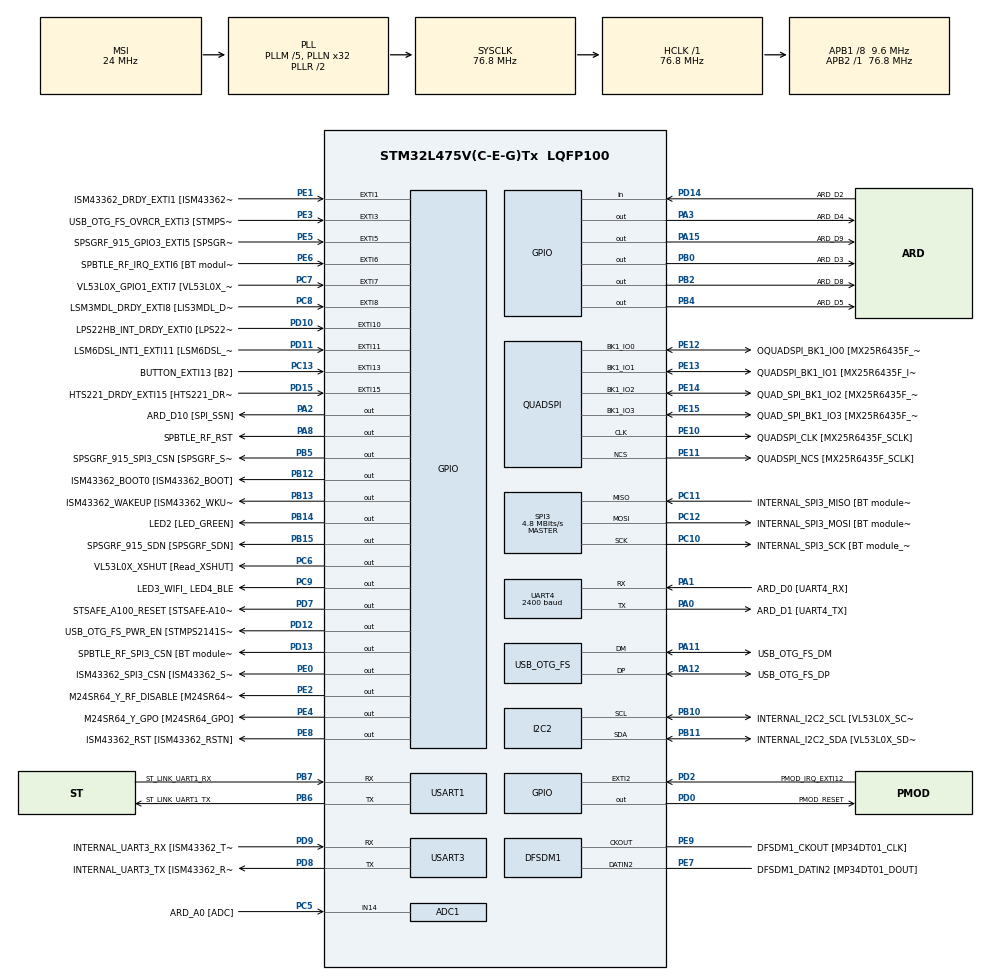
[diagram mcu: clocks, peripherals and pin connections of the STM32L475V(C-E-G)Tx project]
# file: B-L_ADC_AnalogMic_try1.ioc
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ADC1.Channel-1\#ChannelRegularConversion=ADC_CHANNEL_14
ADC1.Channel-2\#ChannelRegularConversion=ADC_CHANNEL_14
ADC1.ContinuousConvMode=DISABLE
ADC1.DMAContinuousRequests=ENABLE
ADC1.EnableAnalogWatchDog1=false
ADC1.NbrOfConversion=2
ADC1.NbrOfConversionFlag=1
ADC1.OffsetNumber-1\#ChannelRegularConversion=ADC_OFFSET_NONE
ADC1.OffsetNumber-2\#ChannelRegularConversion=ADC_OFFSET_NONE
ADC1.OversamplingMode=ENABLE
ADC1.Rank-1\#ChannelRegularConversion=1
ADC1.Rank-2\#ChannelRegularConversion=2
ADC1.Ratio=ADC_OVERSAMPLING_RATIO_64
ADC1.RightBitShift=ADC_RIGHTBITSHIFT_2
ADC1.SamplingTime-1\#ChannelRegularConversion=ADC_SAMPLETIME_12CYCLES_5
ADC1.SamplingTime-2\#ChannelRegularConversion=ADC_SAMPLETIME_2CYCLES_5
ADC1.master=1
Dma.ADC1.0.Direction=DMA_PERIPH_TO_MEMORY
Dma.ADC1.0.Instance=DMA1_Channel1
Dma.ADC1.0.MemDataAlignment=DMA_MDATAALIGN_HALFWORD
Dma.ADC1.0.MemInc=DMA_MINC_ENABLE
Dma.ADC1.0.Mode=DMA_CIRCULAR
Dma.ADC1.0.PeriphDataAlignment=DMA_PDATAALIGN_HALFWORD
Dma.ADC1.0.PeriphInc=DMA_PINC_DISABLE
Dma.ADC1.0.Priority=DMA_PRIORITY_LOW
Dma.Request0=ADC1
I2C2.Timing=0x00202336
Mcu.Family=STM32L4
Mcu.Name=STM32L475V(C-E-G)Tx
Mcu.Package=LQFP100
NVIC.DMA1_Channel1_IRQn=true\:0\:0\:false\:false\:true\:false\:true
NVIC.EXTI15_10_IRQn=true\:0\:0\:false\:false\:true\:true\:true
NVIC.EXTI9_5_IRQn=true\:0\:0\:false\:false\:true\:true\:true
NVIC.PriorityGroup=NVIC_PRIORITYGROUP_4
NVIC.TIM6_DAC_IRQn=true\:0\:0\:false\:false\:true\:true\:true
PA0.GPIO_Label=ARD_D1 [UART4_TX]
PA0.Mode=Asynchronous
PA0.Signal=UART4_TX
PA1.GPIO_Label=ARD_D0 [UART4_RX]
PA1.Mode=Asynchronous
PA1.Signal=UART4_RX
PA10.GPIO_Label=USB_OTG_FS_ID
PA10.Signal=USB_OTG_FS_ID
PA11.GPIO_Label=USB_OTG_FS_DM
PA11.Mode=Device_Only
PA11.Signal=USB_OTG_FS_DM
PA12.GPIO_Label=USB_OTG_FS_DP
PA12.Mode=Device_Only
PA12.Signal=USB_OTG_FS_DP
PA13\ (JTMS-SWDIO).GPIO_Label=SYS_JTMS_SWDIO
PA13\ (JTMS-SWDIO).Mode=Serial_Wire
PA13\ (JTMS-SWDIO).Signal=SYS_JTMS-SWDIO
PA14\ (JTCK-SWCLK).GPIO_Label=SYS_JTCK_SWCLK
PA14\ (JTCK-SWCLK).Mode=Serial_Wire
PA14\ (JTCK-SWCLK).Signal=SYS_JTCK-SWCLK
PA15\ (JTDI).GPIO_Label=ARD_D9
PA15\ (JTDI).Signal=GPIO_Output
PA2.GPIO_Label=ARD_D10 [SPI_SSN]
PA2.Signal=GPIO_Output
PA3.GPIO_Label=ARD_D4
PA3.Signal=GPIO_Output
PA4.GPIO_Label=ARD_D7
PA4.Signal=ADCx_IN9
PA5.GPIO_Label=ARD_D13 [SPI1_SCK]
PA5.Signal=SPI1_SCK
PA6.GPIO_Label=ARD_D12 [SPI1_MISO]
PA6.Signal=SPI1_MISO
PA7.GPIO_Label=ARD_D11 [SPI1_MOSI]
PA7.Signal=SPI1_MOSI
PA8.GPIO_Label=SPBTLE_RF_RST
PA8.Signal=GPIO_Output
PA9.GPIO_Label=USB_OTG_FS_VBUS [STMPS2141STR_OUT]
PA9.Signal=USB_OTG_FS_VBUS
PB0.GPIO_Label=ARD_D3
PB0.PinState=GPIO_PIN_SET
PB0.Signal=GPIO_Output
PB1.GPIO_Label=ARD_D6 [ADC1_IN6]
PB1.Signal=ADCx_IN16
PB10.GPIO_Label=INTERNAL_I2C2_SCL [VL53L0X_SCL]
PB10.Mode=I2C
PB10.Signal=I2C2_SCL
PB11.GPIO_Label=INTERNAL_I2C2_SDA [VL53L0X_SDA]
PB11.Mode=I2C
PB11.Signal=I2C2_SDA
PB12.GPIO_Label=ISM43362_BOOT0 [ISM43362_BOOT]
PB12.Signal=GPIO_Output
PB13.GPIO_Label=ISM43362_WAKEUP [ISM43362_WKUP]
PB13.Signal=GPIO_Output
PB14.GPIO_Label=LED2 [LED_GREEN]
PB14.Signal=GPIO_Output
PB15.GPIO_Label=SPSGRF_915_SDN [SPSGRF_SDN]
PB15.Signal=GPIO_Output
PB2.GPIO_Label=ARD_D8
PB2.Signal=GPIO_Output
PB3\ (JTDO-TRACESWO).GPIO_Label=SYS_JTD0_SWO
PB3\ (JTDO-TRACESWO).Signal=SYS_JTDO-SWO
PB4\ (NJTRST).GPIO_Label=ARD_D5
PB4\ (NJTRST).GPIO_ModeDefaultOutputPP=GPIO_MODE_OUTPUT_OD
PB4\ (NJTRST).Signal=GPIO_Output
PB5.GPIO_Label=SPSGRF_915_SPI3_CSN [SPSGRF_SPI_CS]
PB5.PinState=GPIO_PIN_SET
PB5.Signal=GPIO_Output
PB6.GPIO_Label=ST_LINK_UART1_TX
PB6.Mode=Asynchronous
PB6.Signal=USART1_TX
PB7.GPIO_Label=ST_LINK_UART1_RX
PB7.Mode=Asynchronous
PB7.Signal=USART1_RX
PB8.GPIO_Label=ARD_D15 [I2C1_SCL]
PB8.Signal=I2C1_SCL
PB9.GPIO_Label=ARD_D14 [I2C1_SDA]
PB9.Signal=I2C1_SDA
PC0.GPIO_Label=ARD_A5 [ADC]
PC0.Signal=ADCx_IN1
PC1.GPIO_Label=ARD_A4 [ADC]
PC1.Signal=ADCx_IN2
PC10.GPIO_Label=INTERNAL_SPI3_SCK [BT module_SPI_SCLK] [ISM43362_SCK]
PC10.Mode=Full_Duplex_Master
PC10.Signal=SPI3_SCK
PC11.GPIO_Label=INTERNAL_SPI3_MISO [BT module_SPI_MISO] [ISM43362_MISO]
PC11.Mode=Full_Duplex_Master
PC11.Signal=SPI3_MISO
PC12.GPIO_Label=INTERNAL_SPI3_MOSI [BT module_SPI_MOSI] [ISM43362_MOSI]
PC12.Mode=Full_Duplex_Master
PC12.Signal=SPI3_MOSI
PC13.GPIO_Label=BUTTON_EXTI13 [B2]
PC13.GPIO_ModeDefaultEXTI=GPIO_MODE_IT_FALLING
PC13.Signal=GPXTI13
PC14-OSC32_IN\ (PC14).Mode=LSE-External-Oscillator
PC14-OSC32_IN\ (PC14).Signal=RCC_OSC32_IN
PC15-OSC32_OUT\ (PC15).Mode=LSE-External-Oscillator
PC15-OSC32_OUT\ (PC15).Signal=RCC_OSC32_OUT
PC2.GPIO_Label=ARD_A3 [ADC]
PC2.Signal=ADCx_IN3
PC3.GPIO_Label=ARD_A2 [ADC]
PC3.Signal=ADCx_IN4
PC4.GPIO_Label=ARD_A1 [ADC]
PC4.Signal=ADCx_IN13
PC5.GPIO_Label=ARD_A0 [ADC]
PC5.Signal=ADCx_IN14
PC6.GPIO_Label=VL53L0X_XSHUT [Read_XSHUT]
PC6.Signal=GPIO_Output
PC7.GPIO_Label=VL53L0X_GPIO1_EXTI7 [VL53L0X_GPIO1]
PC7.Signal=GPXTI7
PC8.GPIO_Label=LSM3MDL_DRDY_EXTI8 [LIS3MDL_DRDY]
PC8.Signal=GPXTI8
PC9.GPIO_Label=LED3_WIFI_ LED4_BLE
PC9.Signal=GPIO_Output
PD0.GPIO_Label=PMOD_RESET
PD0.Signal=GPIO_Output
PD1.GPIO_Label=PMOD_SPI2_SCK
PD1.Signal=SPI2_SCK
PD10.GPIO_Label=LPS22HB_INT_DRDY_EXTI0 [LPS22HB_INT_DRDY] 
PD10.Signal=GPXTI10
PD11.GPIO_Label=LSM6DSL_INT1_EXTI11 [LSM6DSL_INT1]
PD11.Signal=GPXTI11
PD12.GPIO_Label=USB_OTG_FS_PWR_EN [STMPS2141STR_EN]
PD12.Signal=GPIO_Output
PD13.GPIO_Label=SPBTLE_RF_SPI3_CSN [BT module_SPI_CS]
PD13.PinState=GPIO_PIN_SET
PD13.Signal=GPIO_Output
PD14.GPIO_Label=ARD_D2
PD14.Signal=GPIO_Input
PD15.GPIO_Label=HTS221_DRDY_EXTI15 [HTS221_DRDY]
PD15.Signal=GPXTI15
PD2.GPIO_Label=PMOD_IRQ_EXTI12
PD2.Signal=GPXTI2
PD3.GPIO_Label=PMOD_UART2_CTS
PD3.Signal=USART2_CTS
PD4.GPIO_Label=PMOD_UART2_RTS
PD4.Signal=USART2_RTS
PD5.GPIO_Label=PMOD_UART2_TX
PD5.Signal=USART2_TX
PD6.GPIO_Label=PMOD_UART2_RX
PD6.Signal=USART2_RX
PD7.GPIO_Label=STSAFE_A100_RESET [STSAFE-A100_RESET]
PD7.Signal=GPIO_Output
PD8.GPIO_Label=INTERNAL_UART3_TX [ISM43362_RX]
PD8.Mode=Asynchronous
PD8.Signal=USART3_TX
PD9.GPIO_Label=INTERNAL_UART3_RX [ISM43362_TX]
PD9.Mode=Asynchronous
PD9.Signal=USART3_RX
PE0.GPIO_Label=ISM43362_SPI3_CSN [ISM43362_SSN]
PE0.PinState=GPIO_PIN_SET
PE0.Signal=GPIO_Output
PE1.GPIO_Label=ISM43362_DRDY_EXTI1 [ISM43362_DATARDY]
PE1.Signal=GPXTI1
PE10.GPIO_Label=QUADSPI_CLK [MX25R6435F_SCLK]
PE10.Mode=Single Bank
PE10.Signal=QUADSPI_CLK
PE11.GPIO_Label=QUADSPI_NCS [MX25R6435F_SCLK]
PE11.Mode=Single Bank
PE11.Signal=QUADSPI_NCS
PE12.GPIO_Label=OQUADSPI_BK1_IO0 [MX25R6435F_IO0]
PE12.Mode=Single Bank
PE12.Signal=QUADSPI_BK1_IO0
PE13.GPIO_Label=QUADSPI_BK1_IO1 [MX25R6435F_IO1]
PE13.Mode=Single Bank
PE13.Signal=QUADSPI_BK1_IO1
PE14.GPIO_Label=QUAD_SPI_BK1_IO2 [MX25R6435F_IO2]
PE14.Mode=Single Bank
PE14.Signal=QUADSPI_BK1_IO2
PE15.GPIO_Label=QUAD_SPI_BK1_IO3 [MX25R6435F_IO3]
PE15.Mode=Single Bank
PE15.Signal=QUADSPI_BK1_IO3
PE2.GPIO_Label=M24SR64_Y_RF_DISABLE [M24SR64_RFDIS]
PE2.Signal=GPIO_Output
PE3.GPIO_Label=USB_OTG_FS_OVRCR_EXTI3 [STMPS2141STR_FAULT]
PE3.Signal=GPXTI3
PE4.GPIO_Label=M24SR64_Y_GPO [M24SR64_GPO]
PE4.Signal=GPIO_Output
PE5.GPIO_Label=SPSGRF_915_GPIO3_EXTI5 [SPSGRF_GPIO_3]
PE5.Signal=GPXTI5
PE6.GPIO_Label=SPBTLE_RF_IRQ_EXTI6 [BT module_SPI_IRQ]
PE6.Signal=GPXTI6
PE7.GPIO_Label=DFSDM1_DATIN2 [MP34DT01_DOUT]
PE7.Signal=S_DATAIN2DFSDM1
PE8.GPIO_Label=ISM43362_RST [ISM43362_RSTN]
PE8.Signal=GPIO_Output
PE9.GPIO_Label=DFSDM1_CKOUT [MP34DT01_CLK]
PE9.Signal=S_CKOUTDFSDM1
ProjectManager.HeapSize=0x200
ProjectManager.StackSize=0x400
ProjectManager.TargetToolchain=TrueSTUDIO
RCC.ADCCLockSelection=RCC_ADCCLKSOURCE_SYSCLK
RCC.ADCFreq_Value=76800000
RCC.AHBFreq_Value=76800000
RCC.APB1CLKDivider=RCC_HCLK_DIV8
RCC.APB1Freq_Value=9600000
RCC.APB1TimFreq_Value=19200000
RCC.APB2Freq_Value=76800000
RCC.APB2TimFreq_Value=76800000
RCC.CortexFreq_Value=76800000
RCC.HCLKFreq_Value=76800000
RCC.HSE_VALUE=8000000
RCC.HSI_VALUE=16000000
RCC.MSIClockRange=RCC_MSIRANGE_9
RCC.MSI_VALUE=24000000
RCC.PLLM=5
RCC.PLLN=32
RCC.PLLQ=RCC_PLLQ_DIV4
RCC.PLLSAI1N=20
RCC.SYSCLKFreq_VALUE=76800000
RCC.SYSCLKSource=RCC_SYSCLKSOURCE_PLLCLK
RCC.USBFreq_Value=48000000
RCC.VCOOutputFreq_Value=153600000
SH.ADCx_IN1.0=ADC1_IN1
SH.ADCx_IN13.0=ADC1_IN13
SH.ADCx_IN14.0=ADC1_IN14,IN14-Single-Ended
SH.ADCx_IN16.0=ADC1_IN16
SH.ADCx_IN2.0=ADC1_IN2
SH.ADCx_IN3.0=ADC1_IN3
SH.ADCx_IN4.0=ADC1_IN4
SH.ADCx_IN9.0=ADC1_IN9
SH.S_CKOUTDFSDM1.0=DFSDM1_CKOUT,CKOUT
SH.S_CKOUTDFSDM1.1=DFSDM1_CKOUT,PDM_SPI_Input_from_ch12_and_Internal_Clock
SH.S_DATAIN2DFSDM1.0=DFSDM1_DATIN2,PDM_SPI_Input_from_ch12_and_Internal_Clock
SPI3.BaudRatePrescaler=SPI_BAUDRATEPRESCALER_2
SPI3.CalculateBaudRate=4.8 MBits/s
SPI3.DataSize=SPI_DATASIZE_16BIT
SPI3.Direction=SPI_DIRECTION_2LINES
SPI3.Mode=SPI_MODE_MASTER
SPI3.VirtualType=VM_MASTER
TIM6.AutoReloadPreload=TIM_AUTORELOAD_PRELOAD_ENABLE
TIM6.Period=100
TIM6.Prescaler=19200
UART4.BaudRate=2400
USART1.VirtualMode-Asynchronous=VM_ASYNC
USART3.VirtualMode-Asynchronous=VM_ASYNC
USB_OTG_FS.VirtualMode=Device_Only
VP_TIM6_VS_ClockSourceINT.Mode=Enable_Timer
board=B-L475E-IOT01A1

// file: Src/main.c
/* USER CODE BEGIN Header */
/**
  ******************************************************************************
  * @file           : main.c
  * @brief          : Main program body
  ******************************************************************************
  * @attention
  *
  * <h2><center>&copy; Copyright (c) 2020 STMicroelectronics.
  * All rights reserved.</center></h2>
  *
  * This software component is licensed by ST under BSD 3-Clause license,
  * the "License"; You may not use this file except in compliance with the
  * License. You may obtain a copy of the License at:
  *                        opensource.org/licenses/BSD-3-Clause
  *
  ******************************************************************************
  */
/* USER CODE END Header */

#include "main.h"

/* USER CODE BEGIN Includes */
#include <string.h>
/* USER CODE END Includes */

/* USER CODE BEGIN PD */
#define BUF_LEN 255
#define HALF_BUFF_LEN 127
/* USER CODE END PD */

ADC_HandleTypeDef hadc1;
DMA_HandleTypeDef hdma_adc1;

DFSDM_Channel_HandleTypeDef hdfsdm1_channel1;

I2C_HandleTypeDef hi2c2;

QSPI_HandleTypeDef hqspi;

SPI_HandleTypeDef hspi3;

TIM_HandleTypeDef htim6;

UART_HandleTypeDef huart4;
UART_HandleTypeDef huart1;
UART_HandleTypeDef huart3;

PCD_HandleTypeDef hpcd_USB_OTG_FS;

/* USER CODE BEGIN PV */
uint16_t MyMicValues[256];
uint32_t AudioSampleAccum1 = 0, AudioSampleAccum2 = 0;
uint16_t AudioAv1, AudioAv2, AudioAvTotal;
uint16_t GlobalTriggerLevel;
uint16_t DescisionFLAG = 0;
uint16_t TriggerFLAG = 0;
uint16_t ButtonFLAG = 0;
uint16_t NewAudioSampleFLAG = 0;

uint32_t DescisionLoopCNT= 0;
uint32_t DescisionAccum = 0;
/* USER CODE END PV */

void SystemClock_Config(void);
static void MX_GPIO_Init(void);
static void MX_DMA_Init(void);
static void MX_ADC1_Init(void);
static void MX_DFSDM1_Init(void);
static void MX_I2C2_Init(void);
static void MX_QUADSPI_Init(void);
static void MX_SPI3_Init(void);
static void MX_USART1_UART_Init(void);
static void MX_USART3_UART_Init(void);
static void MX_USB_OTG_FS_PCD_Init(void);
static void MX_TIM6_Init(void);
static void MX_UART4_Init(void);

int main(void)
{
  /* USER CODE BEGIN 1 */

	uint16_t TriggerLoopCount = 0;
	uint32_t TriggerAccum;
	uint16_t TriggerTotal;
	uint16_t TriggerLevel;

	char *msg = "say=Please listen for important message;";
	uint16_t len = strlen(msg);
	//char *backmsg[128];

  /* USER CODE END 1 */

  /* MCU Configuration--------------------------------------------------------*/

  /* Reset of all peripherals, Initializes the Flash interface and the Systick. */
  HAL_Init();

  /* Configure the system clock */
  SystemClock_Config();

  /* Initialize all configured peripherals */
  MX_GPIO_Init();
  MX_DMA_Init();
  MX_ADC1_Init();
  MX_DFSDM1_Init();
  MX_I2C2_Init();
  MX_QUADSPI_Init();
  MX_SPI3_Init();
  MX_USART1_UART_Init();
  MX_USART3_UART_Init();
  MX_USB_OTG_FS_PCD_Init();
  MX_TIM6_Init();
  MX_UART4_Init();
  /* USER CODE BEGIN 2 */

 // for (uint16_t x = 0; x < BUF_LEN; x++)
  //{
//	  MyMicValues[x] = 0;
 // }

  HAL_GPIO_WritePin(ARD_D3_GPIO_Port, ARD_D3_Pin, SET);
  HAL_GPIO_WritePin(ARD_D4_GPIO_Port, ARD_D4_Pin, RESET);
  HAL_GPIO_WritePin(ARD_D5_GPIO_Port, ARD_D5_Pin, RESET);

  //HAL_TIM_Base_Start_IT(&htim6);

  HAL_ADCEx_Calibration_Start(&hadc1, ADC_SINGLE_ENDED);
  HAL_ADC_Start_DMA(&hadc1, (uint32_t*)MyMicValues, BUF_LEN);

  //HAL_ADC_Start(&hadc1);

  while (TriggerLoopCount <= 1024)
  {
	  //if (NewAudioSampleFLAG)
	  //{
		  TriggerAccum = TriggerAccum + AudioAvTotal;
		  HAL_Delay(15);
		  TriggerLoopCount++;
		  HAL_GPIO_TogglePin(LED2_GPIO_Port, LED2_Pin);
	  //}
	  //NewAudioSampleFLAG = 0;
  }

  //__HAL_TIM_SET_AUTORELOAD(&htim6,2000);

  TriggerTotal = TriggerAccum >> 10;
  TriggerLevel = TriggerTotal + 540;
  GlobalTriggerLevel = TriggerLevel;
  HAL_TIM_Base_Stop_IT(&htim6);
  TriggerAccum = 0;
  /* USER CODE END 2 */

  /* Infinite loop */
  /* USER CODE BEGIN WHILE */
  while (1)
  {
	  if (AudioAvTotal > TriggerLevel)
	  {
		  //HAL_GPIO_TogglePin(LED2_GPIO_Port, LED2_Pin);
		  HAL_TIM_Base_Start_IT(&htim6);
		  while(!DescisionFLAG);
		  //{
			//  if (NewAudioSampleFLAG)
			  //{
				//  DescisionAccum = DescisionAccum + AudioAvTotal;
				  //DescisionLoopCNT++;
			  //}
			  //NewAudioSampleFLAG = 0;
		  //}
		  HAL_TIM_Base_Stop_IT(&htim6);
		  if (TriggerFLAG)
		  {
			  //HAL_TIM_Base_Stop_IT(&htim6);
			  HAL_GPIO_WritePin(ARD_D8_GPIO_Port, ARD_D8_Pin, SET); //red LED
			  HAL_GPIO_WritePin(ARD_D5_GPIO_Port, ARD_D5_Pin, SET); //pause audio source
			  HAL_Delay(400);
			  HAL_GPIO_WritePin(ARD_D5_GPIO_Port, ARD_D5_Pin, RESET);

			  HAL_GPIO_WritePin(ARD_D3_GPIO_Port, ARD_D3_Pin, RESET);
			  HAL_GPIO_WritePin(ARD_D4_GPIO_Port, ARD_D4_Pin, SET);   //switch over audio

			  for(uint16_t messageLoop =0; messageLoop < len; messageLoop++)
			  {
				  HAL_UART_Transmit(&huart4,(uint8_t *)&msg[messageLoop], 1, 0);
				  //HAL_UART_Receive(&huart4,(uint8_t *)&backmsg,2,0);
				  HAL_Delay(5); //should find TX ready flag
			  }
			  //HAL_UART_Receive(&huart4,(uint8_t *)&backmsg,2,0);
			  while(!ButtonFLAG);
			  ButtonFLAG = 0;
			  HAL_GPIO_WritePin(ARD_D3_GPIO_Port, ARD_D3_Pin, SET);
			  HAL_GPIO_WritePin(ARD_D4_GPIO_Port, ARD_D4_Pin, RESET);   //switch over audio

			  HAL_GPIO_WritePin(ARD_D5_GPIO_Port, ARD_D5_Pin, SET); //un-pause audio source
			  HAL_Delay(400);
			  HAL_GPIO_WritePin(ARD_D5_GPIO_Port, ARD_D5_Pin, RESET);

			  HAL_GPIO_WritePin(ARD_D8_GPIO_Port, ARD_D8_Pin, RESET);//RED LED
			  TriggerFLAG = 0;
			  DescisionFLAG = 0;
		  }
		  else
		  {
			 // HAL_TIM_Base_Stop_IT(&htim6);
			  HAL_GPIO_WritePin(ARD_D8_GPIO_Port, ARD_D8_Pin, RESET);
			  //TriggerFLAG = 0;
			  DescisionFLAG = 0;
		  }
	  }

	  /* USER CODE END WHILE */
  }
}
/*USER CODE BEGIN 4*/
void HAL_ADC_ConvHalfCpltCallback(ADC_HandleTypeDef *hadc)
{
	for(uint16_t AvCount = 0; AvCount <= HALF_BUFF_LEN; AvCount++)
	{
		AudioSampleAccum1 = AudioSampleAccum1 + MyMicValues[AvCount];
	}
	AudioAv1 = AudioSampleAccum1 >> 7;
	AudioSampleAccum1 = AudioAv1; //running audio average
}

void HAL_ADC_ConvCpltCallback(ADC_HandleTypeDef *hadc)
{
	for(uint16_t AvCount = HALF_BUFF_LEN; AvCount <= BUF_LEN; AvCount++)
	{
		AudioSampleAccum2 = AudioSampleAccum2 + MyMicValues[AvCount];
	}
	AudioAv2 = AudioSampleAccum2 >> 7;
	AudioAvTotal = (AudioAv1 + AudioAv2) >> 1;
	AudioSampleAccum2 = AudioAv2; //running audio average
	NewAudioSampleFLAG = 1;

}

void HAL_TIM_PeriodElapsedCallback(TIM_HandleTypeDef *htim)
{
	HAL_GPIO_TogglePin(LED2_GPIO_Port, LED2_Pin);
	//uint32_t temp;
	DescisionFLAG = 1;
	//temp = (DescisionAccum / DescisionLoopCNT);
	if (AudioAvTotal > GlobalTriggerLevel)
	{
		TriggerFLAG = 1;
	}
	DescisionAccum = 0;
	DescisionLoopCNT = 0;
}

void HAL_GPIO_EXTI_Callback(uint16_t GPIO_Pin)
{
	UNUSED(GPIO_Pin);
	ButtonFLAG = 1;
}
/*USER CODE END 4*/

void SystemClock_Config(void)
{
  RCC_OscInitTypeDef RCC_OscInitStruct = {0};
  RCC_ClkInitTypeDef RCC_ClkInitStruct = {0};
  RCC_PeriphCLKInitTypeDef PeriphClkInit = {0};

  /** Configure LSE Drive Capability
  */
  HAL_PWR_EnableBkUpAccess();
  __HAL_RCC_LSEDRIVE_CONFIG(RCC_LSEDRIVE_LOW);
  /** Initializes the CPU, AHB and APB busses clocks
  */
  RCC_OscInitStruct.OscillatorType = RCC_OSCILLATORTYPE_LSE|RCC_OSCILLATORTYPE_MSI;
  RCC_OscInitStruct.LSEState = RCC_LSE_ON;
  RCC_OscInitStruct.MSIState = RCC_MSI_ON;
  RCC_OscInitStruct.MSICalibrationValue = 0;
  RCC_OscInitStruct.MSIClockRange = RCC_MSIRANGE_9;
  RCC_OscInitStruct.PLL.PLLState = RCC_PLL_ON;
  RCC_OscInitStruct.PLL.PLLSource = RCC_PLLSOURCE_MSI;
  RCC_OscInitStruct.PLL.PLLM = 5;
  RCC_OscInitStruct.PLL.PLLN = 32;
  RCC_OscInitStruct.PLL.PLLP = RCC_PLLP_DIV7;
  RCC_OscInitStruct.PLL.PLLQ = RCC_PLLQ_DIV4;
  RCC_OscInitStruct.PLL.PLLR = RCC_PLLR_DIV2;
  if (HAL_RCC_OscConfig(&RCC_OscInitStruct) != HAL_OK)
  {
    Error_Handler();
  }
  /** Initializes the CPU, AHB and APB busses clocks
  */
  RCC_ClkInitStruct.ClockType = RCC_CLOCKTYPE_HCLK|RCC_CLOCKTYPE_SYSCLK
                              |RCC_CLOCKTYPE_PCLK1|RCC_CLOCKTYPE_PCLK2;
  RCC_ClkInitStruct.SYSCLKSource = RCC_SYSCLKSOURCE_PLLCLK;
  RCC_ClkInitStruct.AHBCLKDivider = RCC_SYSCLK_DIV1;
  RCC_ClkInitStruct.APB1CLKDivider = RCC_HCLK_DIV8;
  RCC_ClkInitStruct.APB2CLKDivider = RCC_HCLK_DIV1;

  if (HAL_RCC_ClockConfig(&RCC_ClkInitStruct, FLASH_LATENCY_4) != HAL_OK)
  {
    Error_Handler();
  }
  PeriphClkInit.PeriphClockSelection = RCC_PERIPHCLK_USART1|RCC_PERIPHCLK_USART3
                              |RCC_PERIPHCLK_UART4|RCC_PERIPHCLK_I2C2
                              |RCC_PERIPHCLK_DFSDM1|RCC_PERIPHCLK_USB
                              |RCC_PERIPHCLK_ADC;
  PeriphClkInit.Usart1ClockSelection = RCC_USART1CLKSOURCE_PCLK2;
  PeriphClkInit.Usart3ClockSelection = RCC_USART3CLKSOURCE_PCLK1;
  PeriphClkInit.Uart4ClockSelection = RCC_UART4CLKSOURCE_PCLK1;
  PeriphClkInit.I2c2ClockSelection = RCC_I2C2CLKSOURCE_PCLK1;
  PeriphClkInit.AdcClockSelection = RCC_ADCCLKSOURCE_SYSCLK;
  PeriphClkInit.Dfsdm1ClockSelection = RCC_DFSDM1CLKSOURCE_PCLK;
  PeriphClkInit.UsbClockSelection = RCC_USBCLKSOURCE_PLLSAI1;
  PeriphClkInit.PLLSAI1.PLLSAI1Source = RCC_PLLSOURCE_MSI;
  PeriphClkInit.PLLSAI1.PLLSAI1M = 5;
  PeriphClkInit.PLLSAI1.PLLSAI1N = 20;
  PeriphClkInit.PLLSAI1.PLLSAI1P = RCC_PLLP_DIV7;
  PeriphClkInit.PLLSAI1.PLLSAI1Q = RCC_PLLQ_DIV2;
  PeriphClkInit.PLLSAI1.PLLSAI1R = RCC_PLLR_DIV2;
  PeriphClkInit.PLLSAI1.PLLSAI1ClockOut = RCC_PLLSAI1_48M2CLK;
  if (HAL_RCCEx_PeriphCLKConfig(&PeriphClkInit) != HAL_OK)
  {
    Error_Handler();
  }
  /** Configure the main internal regulator output voltage
  */
  if (HAL_PWREx_ControlVoltageScaling(PWR_REGULATOR_VOLTAGE_SCALE1) != HAL_OK)
  {
    Error_Handler();
  }
  /** Enable MSI Auto calibration
  */
  HAL_RCCEx_EnableMSIPLLMode();
}

static void MX_ADC1_Init(void)
{

  ADC_MultiModeTypeDef multimode = {0};
  ADC_ChannelConfTypeDef sConfig = {0};

  /** Common config
  */
  hadc1.Instance = ADC1;
  hadc1.Init.ClockPrescaler = ADC_CLOCK_ASYNC_DIV1;
  hadc1.Init.Resolution = ADC_RESOLUTION_12B;
  hadc1.Init.DataAlign = ADC_DATAALIGN_RIGHT;
  hadc1.Init.ScanConvMode = ADC_SCAN_ENABLE;
  hadc1.Init.EOCSelection = ADC_EOC_SINGLE_CONV;
  hadc1.Init.LowPowerAutoWait = DISABLE;
  hadc1.Init.ContinuousConvMode = ENABLE;
  hadc1.Init.NbrOfConversion = 2;
  hadc1.Init.DiscontinuousConvMode = DISABLE;
  hadc1.Init.NbrOfDiscConversion = 1;
  hadc1.Init.ExternalTrigConv = ADC_SOFTWARE_START;
  hadc1.Init.ExternalTrigConvEdge = ADC_EXTERNALTRIGCONVEDGE_NONE;
  hadc1.Init.DMAContinuousRequests = ENABLE;
  hadc1.Init.Overrun = ADC_OVR_DATA_PRESERVED;
  hadc1.Init.OversamplingMode = ENABLE;
  hadc1.Init.Oversampling.Ratio = ADC_OVERSAMPLING_RATIO_64;
  hadc1.Init.Oversampling.RightBitShift = ADC_RIGHTBITSHIFT_2;
  hadc1.Init.Oversampling.TriggeredMode = ADC_TRIGGEREDMODE_SINGLE_TRIGGER;
  hadc1.Init.Oversampling.OversamplingStopReset = ADC_REGOVERSAMPLING_CONTINUED_MODE;
  if (HAL_ADC_Init(&hadc1) != HAL_OK)
  {
    Error_Handler();
  }
  /** Configure the ADC multi-mode
  */
  multimode.Mode = ADC_MODE_INDEPENDENT;
  if (HAL_ADCEx_MultiModeConfigChannel(&hadc1, &multimode) != HAL_OK)
  {
    Error_Handler();
  }
  /** Configure Regular Channel
  */
  sConfig.Channel = ADC_CHANNEL_14;
  sConfig.Rank = ADC_REGULAR_RANK_1;
  sConfig.SamplingTime = ADC_SAMPLETIME_12CYCLES_5;
  sConfig.SingleDiff = ADC_SINGLE_ENDED;
  sConfig.OffsetNumber = ADC_OFFSET_NONE;
  sConfig.Offset = 0;
  if (HAL_ADC_ConfigChannel(&hadc1, &sConfig) != HAL_OK)
  {
    Error_Handler();
  }
  /** Configure Regular Channel
  */
  sConfig.Rank = ADC_REGULAR_RANK_2;
  sConfig.SamplingTime = ADC_SAMPLETIME_2CYCLES_5;
  if (HAL_ADC_ConfigChannel(&hadc1, &sConfig) != HAL_OK)
  {
    Error_Handler();
  }

}

static void MX_DFSDM1_Init(void)
{

  hdfsdm1_channel1.Instance = DFSDM1_Channel1;
  hdfsdm1_channel1.Init.OutputClock.Activation = ENABLE;
  hdfsdm1_channel1.Init.OutputClock.Selection = DFSDM_CHANNEL_OUTPUT_CLOCK_SYSTEM;
  hdfsdm1_channel1.Init.OutputClock.Divider = 2;
  hdfsdm1_channel1.Init.Input.Multiplexer = DFSDM_CHANNEL_EXTERNAL_INPUTS;
  hdfsdm1_channel1.Init.Input.DataPacking = DFSDM_CHANNEL_STANDARD_MODE;
  hdfsdm1_channel1.Init.Input.Pins = DFSDM_CHANNEL_FOLLOWING_CHANNEL_PINS;
  hdfsdm1_channel1.Init.SerialInterface.Type = DFSDM_CHANNEL_SPI_RISING;
  hdfsdm1_channel1.Init.SerialInterface.SpiClock = DFSDM_CHANNEL_SPI_CLOCK_INTERNAL;
  hdfsdm1_channel1.Init.Awd.FilterOrder = DFSDM_CHANNEL_FASTSINC_ORDER;
  hdfsdm1_channel1.Init.Awd.Oversampling = 1;
  hdfsdm1_channel1.Init.Offset = 0;
  hdfsdm1_channel1.Init.RightBitShift = 0x00;
  if (HAL_DFSDM_ChannelInit(&hdfsdm1_channel1) != HAL_OK)
  {
    Error_Handler();
  }

}

static void MX_I2C2_Init(void)
{

  hi2c2.Instance = I2C2;
  hi2c2.Init.Timing = 0x00202336;
  hi2c2.Init.OwnAddress1 = 0;
  hi2c2.Init.AddressingMode = I2C_ADDRESSINGMODE_7BIT;
  hi2c2.Init.DualAddressMode = I2C_DUALADDRESS_DISABLE;
  hi2c2.Init.OwnAddress2 = 0;
  hi2c2.Init.OwnAddress2Masks = I2C_OA2_NOMASK;
  hi2c2.Init.GeneralCallMode = I2C_GENERALCALL_DISABLE;
  hi2c2.Init.NoStretchMode = I2C_NOSTRETCH_DISABLE;
  if (HAL_I2C_Init(&hi2c2) != HAL_OK)
  {
    Error_Handler();
  }
  /** Configure Analogue filter
  */
  if (HAL_I2CEx_ConfigAnalogFilter(&hi2c2, I2C_ANALOGFILTER_ENABLE) != HAL_OK)
  {
    Error_Handler();
  }
  /** Configure Digital filter
  */
  if (HAL_I2CEx_ConfigDigitalFilter(&hi2c2, 0) != HAL_OK)
  {
    Error_Handler();
  }

}

static void MX_QUADSPI_Init(void)
{

  /* QUADSPI parameter configuration*/
  hqspi.Instance = QUADSPI;
  hqspi.Init.ClockPrescaler = 255;
  hqspi.Init.FifoThreshold = 1;
  hqspi.Init.SampleShifting = QSPI_SAMPLE_SHIFTING_NONE;
  hqspi.Init.FlashSize = 1;
  hqspi.Init.ChipSelectHighTime = QSPI_CS_HIGH_TIME_1_CYCLE;
  hqspi.Init.ClockMode = QSPI_CLOCK_MODE_0;
  if (HAL_QSPI_Init(&hqspi) != HAL_OK)
  {
    Error_Handler();
  }

}

static void MX_SPI3_Init(void)
{

  /* SPI3 parameter configuration*/
  hspi3.Instance = SPI3;
  hspi3.Init.Mode = SPI_MODE_MASTER;
  hspi3.Init.Direction = SPI_DIRECTION_2LINES;
  hspi3.Init.DataSize = SPI_DATASIZE_16BIT;
  hspi3.Init.CLKPolarity = SPI_POLARITY_LOW;
  hspi3.Init.CLKPhase = SPI_PHASE_1EDGE;
  hspi3.Init.NSS = SPI_NSS_SOFT;
  hspi3.Init.BaudRatePrescaler = SPI_BAUDRATEPRESCALER_2;
  hspi3.Init.FirstBit = SPI_FIRSTBIT_MSB;
  hspi3.Init.TIMode = SPI_TIMODE_DISABLE;
  hspi3.Init.CRCCalculation = SPI_CRCCALCULATION_DISABLE;
  hspi3.Init.CRCPolynomial = 7;
  hspi3.Init.CRCLength = SPI_CRC_LENGTH_DATASIZE;
  hspi3.Init.NSSPMode = SPI_NSS_PULSE_ENABLE;
  if (HAL_SPI_Init(&hspi3) != HAL_OK)
  {
    Error_Handler();
  }

}

static void MX_TIM6_Init(void)
{

  TIM_MasterConfigTypeDef sMasterConfig = {0};

  htim6.Instance = TIM6;
  htim6.Init.Prescaler = 19200;
  htim6.Init.CounterMode = TIM_COUNTERMODE_UP;
  htim6.Init.Period = 1000;
  htim6.Init.AutoReloadPreload = TIM_AUTORELOAD_PRELOAD_DISABLE;
  if (HAL_TIM_Base_Init(&htim6) != HAL_OK)
  {
    Error_Handler();
  }
  sMasterConfig.MasterOutputTrigger = TIM_TRGO_RESET;
  sMasterConfig.MasterSlaveMode = TIM_MASTERSLAVEMODE_DISABLE;
  if (HAL_TIMEx_MasterConfigSynchronization(&htim6, &sMasterConfig) != HAL_OK)
  {
    Error_Handler();
  }

}

static void MX_UART4_Init(void)
{

  huart4.Instance = UART4;
  huart4.Init.BaudRate = 2400;
  huart4.Init.WordLength = UART_WORDLENGTH_8B;
  huart4.Init.StopBits = UART_STOPBITS_1;
  huart4.Init.Parity = UART_PARITY_NONE;
  huart4.Init.Mode = UART_MODE_TX_RX;
  huart4.Init.HwFlowCtl = UART_HWCONTROL_NONE;
  huart4.Init.OverSampling = UART_OVERSAMPLING_16;
  huart4.Init.OneBitSampling = UART_ONE_BIT_SAMPLE_DISABLE;
  huart4.AdvancedInit.AdvFeatureInit = UART_ADVFEATURE_NO_INIT;
  if (HAL_UART_Init(&huart4) != HAL_OK)
  {
    Error_Handler();
  }

}

static void MX_USART1_UART_Init(void)
{

  huart1.Instance = USART1;
  huart1.Init.BaudRate = 115200;
  huart1.Init.WordLength = UART_WORDLENGTH_8B;
  huart1.Init.StopBits = UART_STOPBITS_1;
  huart1.Init.Parity = UART_PARITY_NONE;
  huart1.Init.Mode = UART_MODE_TX_RX;
  huart1.Init.HwFlowCtl = UART_HWCONTROL_NONE;
  huart1.Init.OverSampling = UART_OVERSAMPLING_16;
  huart1.Init.OneBitSampling = UART_ONE_BIT_SAMPLE_DISABLE;
  huart1.AdvancedInit.AdvFeatureInit = UART_ADVFEATURE_NO_INIT;
  if (HAL_UART_Init(&huart1) != HAL_OK)
  {
    Error_Handler();
  }

}

static void MX_USART3_UART_Init(void)
{

  huart3.Instance = USART3;
  huart3.Init.BaudRate = 115200;
  huart3.Init.WordLength = UART_WORDLENGTH_8B;
  huart3.Init.StopBits = UART_STOPBITS_1;
  huart3.Init.Parity = UART_PARITY_NONE;
  huart3.Init.Mode = UART_MODE_TX_RX;
  huart3.Init.HwFlowCtl = UART_HWCONTROL_NONE;
  huart3.Init.OverSampling = UART_OVERSAMPLING_16;
  huart3.Init.OneBitSampling = UART_ONE_BIT_SAMPLE_DISABLE;
  huart3.AdvancedInit.AdvFeatureInit = UART_ADVFEATURE_NO_INIT;
  if (HAL_UART_Init(&huart3) != HAL_OK)
  {
    Error_Handler();
  }

}

static void MX_USB_OTG_FS_PCD_Init(void)
{

  hpcd_USB_OTG_FS.Instance = USB_OTG_FS;
  hpcd_USB_OTG_FS.Init.dev_endpoints = 6;
  hpcd_USB_OTG_FS.Init.speed = PCD_SPEED_FULL;
  hpcd_USB_OTG_FS.Init.phy_itface = PCD_PHY_EMBEDDED;
  hpcd_USB_OTG_FS.Init.Sof_enable = DISABLE;
  hpcd_USB_OTG_FS.Init.low_power_enable = DISABLE;
  hpcd_USB_OTG_FS.Init.lpm_enable = DISABLE;
  hpcd_USB_OTG_FS.Init.battery_charging_enable = DISABLE;
  hpcd_USB_OTG_FS.Init.use_dedicated_ep1 = DISABLE;
  hpcd_USB_OTG_FS.Init.vbus_sensing_enable = DISABLE;
  if (HAL_PCD_Init(&hpcd_USB_OTG_FS) != HAL_OK)
  {
    Error_Handler();
  }

}

static void MX_DMA_Init(void)
{

  /* DMA controller clock enable */
  __HAL_RCC_DMA1_CLK_ENABLE();

  /* DMA interrupt init */
  /* DMA1_Channel1_IRQn interrupt configuration */
  HAL_NVIC_SetPriority(DMA1_Channel1_IRQn, 0, 0);
  HAL_NVIC_EnableIRQ(DMA1_Channel1_IRQn);

}

static void MX_GPIO_Init(void)
{
  GPIO_InitTypeDef GPIO_InitStruct = {0};

  /* GPIO Ports Clock Enable */
  __HAL_RCC_GPIOE_CLK_ENABLE();
  __HAL_RCC_GPIOC_CLK_ENABLE();
  __HAL_RCC_GPIOA_CLK_ENABLE();
  __HAL_RCC_GPIOB_CLK_ENABLE();
  __HAL_RCC_GPIOD_CLK_ENABLE();

  /*Configure GPIO pin Output Level */
  HAL_GPIO_WritePin(GPIOE, M24SR64_Y_RF_DISABLE_Pin|M24SR64_Y_GPO_Pin|ISM43362_RST_Pin, GPIO_PIN_RESET);

  /*Configure GPIO pin Output Level */
  HAL_GPIO_WritePin(GPIOA, ARD_D10_Pin|ARD_D4_Pin|SPBTLE_RF_RST_Pin|ARD_D9_Pin, GPIO_PIN_RESET);

  /*Configure GPIO pin Output Level */
  HAL_GPIO_WritePin(GPIOB, ARD_D3_Pin|SPSGRF_915_SPI3_CSN_Pin, GPIO_PIN_SET);

  /*Configure GPIO pin Output Level */
  HAL_GPIO_WritePin(GPIOB, ARD_D8_Pin|ISM43362_BOOT0_Pin|ISM43362_WAKEUP_Pin|LED2_Pin
                          |SPSGRF_915_SDN_Pin|ARD_D5_Pin, GPIO_PIN_RESET);

  /*Configure GPIO pin Output Level */
  HAL_GPIO_WritePin(GPIOD, USB_OTG_FS_PWR_EN_Pin|PMOD_RESET_Pin|STSAFE_A100_RESET_Pin, GPIO_PIN_RESET);

  /*Configure GPIO pin Output Level */
  HAL_GPIO_WritePin(SPBTLE_RF_SPI3_CSN_GPIO_Port, SPBTLE_RF_SPI3_CSN_Pin, GPIO_PIN_SET);

  /*Configure GPIO pin Output Level */
  HAL_GPIO_WritePin(GPIOC, VL53L0X_XSHUT_Pin|LED3_WIFI__LED4_BLE_Pin, GPIO_PIN_RESET);

  /*Configure GPIO pin Output Level */
  HAL_GPIO_WritePin(ISM43362_SPI3_CSN_GPIO_Port, ISM43362_SPI3_CSN_Pin, GPIO_PIN_SET);

  /*Configure GPIO pins : M24SR64_Y_RF_DISABLE_Pin M24SR64_Y_GPO_Pin ISM43362_RST_Pin ISM43362_SPI3_CSN_Pin */
  GPIO_InitStruct.Pin = M24SR64_Y_RF_DISABLE_Pin|M24SR64_Y_GPO_Pin|ISM43362_RST_Pin|ISM43362_SPI3_CSN_Pin;
  GPIO_InitStruct.Mode = GPIO_MODE_OUTPUT_PP;
  GPIO_InitStruct.Pull = GPIO_NOPULL;
  GPIO_InitStruct.Speed = GPIO_SPEED_FREQ_LOW;
  HAL_GPIO_Init(GPIOE, &GPIO_InitStruct);

  /*Configure GPIO pins : USB_OTG_FS_OVRCR_EXTI3_Pin SPSGRF_915_GPIO3_EXTI5_Pin SPBTLE_RF_IRQ_EXTI6_Pin ISM43362_DRDY_EXTI1_Pin */
  GPIO_InitStruct.Pin = USB_OTG_FS_OVRCR_EXTI3_Pin|SPSGRF_915_GPIO3_EXTI5_Pin|SPBTLE_RF_IRQ_EXTI6_Pin|ISM43362_DRDY_EXTI1_Pin;
  GPIO_InitStruct.Mode = GPIO_MODE_IT_RISING;
  GPIO_InitStruct.Pull = GPIO_NOPULL;
  HAL_GPIO_Init(GPIOE, &GPIO_InitStruct);

  /*Configure GPIO pin : BUTTON_EXTI13_Pin */
  GPIO_InitStruct.Pin = BUTTON_EXTI13_Pin;
  GPIO_InitStruct.Mode = GPIO_MODE_IT_FALLING;
  GPIO_InitStruct.Pull = GPIO_NOPULL;
  HAL_GPIO_Init(BUTTON_EXTI13_GPIO_Port, &GPIO_InitStruct);

  /*Configure GPIO pins : ARD_D10_Pin ARD_D4_Pin SPBTLE_RF_RST_Pin ARD_D9_Pin */
  GPIO_InitStruct.Pin = ARD_D10_Pin|ARD_D4_Pin|SPBTLE_RF_RST_Pin|ARD_D9_Pin;
  GPIO_InitStruct.Mode = GPIO_MODE_OUTPUT_PP;
  GPIO_InitStruct.Pull = GPIO_NOPULL;
  GPIO_InitStruct.Speed = GPIO_SPEED_FREQ_LOW;
  HAL_GPIO_Init(GPIOA, &GPIO_InitStruct);

  /*Configure GPIO pins : ARD_D13_Pin ARD_D12_Pin ARD_D11_Pin */
  GPIO_InitStruct.Pin = ARD_D13_Pin|ARD_D12_Pin|ARD_D11_Pin;
  GPIO_InitStruct.Mode = GPIO_MODE_AF_PP;
  GPIO_InitStruct.Pull = GPIO_NOPULL;
  GPIO_InitStruct.Speed = GPIO_SPEED_FREQ_VERY_HIGH;
  GPIO_InitStruct.Alternate = GPIO_AF5_SPI1;
  HAL_GPIO_Init(GPIOA, &GPIO_InitStruct);

  /*Configure GPIO pins : ARD_D3_Pin ARD_D8_Pin ISM43362_BOOT0_Pin ISM43362_WAKEUP_Pin
                           LED2_Pin SPSGRF_915_SDN_Pin SPSGRF_915_SPI3_CSN_Pin */
  GPIO_InitStruct.Pin = ARD_D3_Pin|ARD_D8_Pin|ISM43362_BOOT0_Pin|ISM43362_WAKEUP_Pin
                          |LED2_Pin|SPSGRF_915_SDN_Pin|SPSGRF_915_SPI3_CSN_Pin;
  GPIO_InitStruct.Mode = GPIO_MODE_OUTPUT_PP;
  GPIO_InitStruct.Pull = GPIO_NOPULL;
  GPIO_InitStruct.Speed = GPIO_SPEED_FREQ_LOW;
  HAL_GPIO_Init(GPIOB, &GPIO_InitStruct);

  /*Configure GPIO pins : LPS22HB_INT_DRDY_EXTI0_Pin LSM6DSL_INT1_EXTI11_Pin HTS221_DRDY_EXTI15_Pin PMOD_IRQ_EXTI12_Pin */
  GPIO_InitStruct.Pin = LPS22HB_INT_DRDY_EXTI0_Pin|LSM6DSL_INT1_EXTI11_Pin|HTS221_DRDY_EXTI15_Pin|PMOD_IRQ_EXTI12_Pin;
  GPIO_InitStruct.Mode = GPIO_MODE_IT_RISING;
  GPIO_InitStruct.Pull = GPIO_NOPULL;
  HAL_GPIO_Init(GPIOD, &GPIO_InitStruct);

  /*Configure GPIO pins : USB_OTG_FS_PWR_EN_Pin SPBTLE_RF_SPI3_CSN_Pin PMOD_RESET_Pin STSAFE_A100_RESET_Pin */
  GPIO_InitStruct.Pin = USB_OTG_FS_PWR_EN_Pin|SPBTLE_RF_SPI3_CSN_Pin|PMOD_RESET_Pin|STSAFE_A100_RESET_Pin;
  GPIO_InitStruct.Mode = GPIO_MODE_OUTPUT_PP;
  GPIO_InitStruct.Pull = GPIO_NOPULL;
  GPIO_InitStruct.Speed = GPIO_SPEED_FREQ_LOW;
  HAL_GPIO_Init(GPIOD, &GPIO_InitStruct);

  /*Configure GPIO pin : ARD_D2_Pin */
  GPIO_InitStruct.Pin = ARD_D2_Pin;
  GPIO_InitStruct.Mode = GPIO_MODE_INPUT;
  GPIO_InitStruct.Pull = GPIO_NOPULL;
  HAL_GPIO_Init(ARD_D2_GPIO_Port, &GPIO_InitStruct);

  /*Configure GPIO pins : VL53L0X_XSHUT_Pin LED3_WIFI__LED4_BLE_Pin */
  GPIO_InitStruct.Pin = VL53L0X_XSHUT_Pin|LED3_WIFI__LED4_BLE_Pin;
  GPIO_InitStruct.Mode = GPIO_MODE_OUTPUT_PP;
  GPIO_InitStruct.Pull = GPIO_NOPULL;
  GPIO_InitStruct.Speed = GPIO_SPEED_FREQ_LOW;
  HAL_GPIO_Init(GPIOC, &GPIO_InitStruct);

  /*Configure GPIO pins : VL53L0X_GPIO1_EXTI7_Pin LSM3MDL_DRDY_EXTI8_Pin */
  GPIO_InitStruct.Pin = VL53L0X_GPIO1_EXTI7_Pin|LSM3MDL_DRDY_EXTI8_Pin;
  GPIO_InitStruct.Mode = GPIO_MODE_IT_RISING;
  GPIO_InitStruct.Pull = GPIO_NOPULL;
  HAL_GPIO_Init(GPIOC, &GPIO_InitStruct);

  /*Configure GPIO pin : PMOD_SPI2_SCK_Pin */
  GPIO_InitStruct.Pin = PMOD_SPI2_SCK_Pin;
  GPIO_InitStruct.Mode = GPIO_MODE_AF_PP;
  GPIO_InitStruct.Pull = GPIO_NOPULL;
  GPIO_InitStruct.Speed = GPIO_SPEED_FREQ_VERY_HIGH;
  GPIO_InitStruct.Alternate = GPIO_AF5_SPI2;
  HAL_GPIO_Init(PMOD_SPI2_SCK_GPIO_Port, &GPIO_InitStruct);

  /*Configure GPIO pins : PMOD_UART2_CTS_Pin PMOD_UART2_RTS_Pin PMOD_UART2_TX_Pin PMOD_UART2_RX_Pin */
  GPIO_InitStruct.Pin = PMOD_UART2_CTS_Pin|PMOD_UART2_RTS_Pin|PMOD_UART2_TX_Pin|PMOD_UART2_RX_Pin;
  GPIO_InitStruct.Mode = GPIO_MODE_AF_PP;
  GPIO_InitStruct.Pull = GPIO_NOPULL;
  GPIO_InitStruct.Speed = GPIO_SPEED_FREQ_VERY_HIGH;
  GPIO_InitStruct.Alternate = GPIO_AF7_USART2;
  HAL_GPIO_Init(GPIOD, &GPIO_InitStruct);

  /*Configure GPIO pin : ARD_D5_Pin */
  GPIO_InitStruct.Pin = ARD_D5_Pin;
  GPIO_InitStruct.Mode = GPIO_MODE_OUTPUT_PP;
  GPIO_InitStruct.Pull = GPIO_NOPULL;
  GPIO_InitStruct.Speed = GPIO_SPEED_FREQ_LOW;
  HAL_GPIO_Init(ARD_D5_GPIO_Port, &GPIO_InitStruct);

  /*Configure GPIO pins : ARD_D15_Pin ARD_D14_Pin */
  GPIO_InitStruct.Pin = ARD_D15_Pin|ARD_D14_Pin;
  GPIO_InitStruct.Mode = GPIO_MODE_AF_OD;
  GPIO_InitStruct.Pull = GPIO_PULLUP;
  GPIO_InitStruct.Speed = GPIO_SPEED_FREQ_VERY_HIGH;
  GPIO_InitStruct.Alternate = GPIO_AF4_I2C1;
  HAL_GPIO_Init(GPIOB, &GPIO_InitStruct);

  /* EXTI interrupt init*/
  HAL_NVIC_SetPriority(EXTI9_5_IRQn, 0, 0);
  HAL_NVIC_EnableIRQ(EXTI9_5_IRQn);

  HAL_NVIC_SetPriority(EXTI15_10_IRQn, 0, 0);
  HAL_NVIC_EnableIRQ(EXTI15_10_IRQn);

}

void Error_Handler(void)
{
}

/************************ (C) COPYRIGHT STMicroelectronics *****END OF FILE****/
